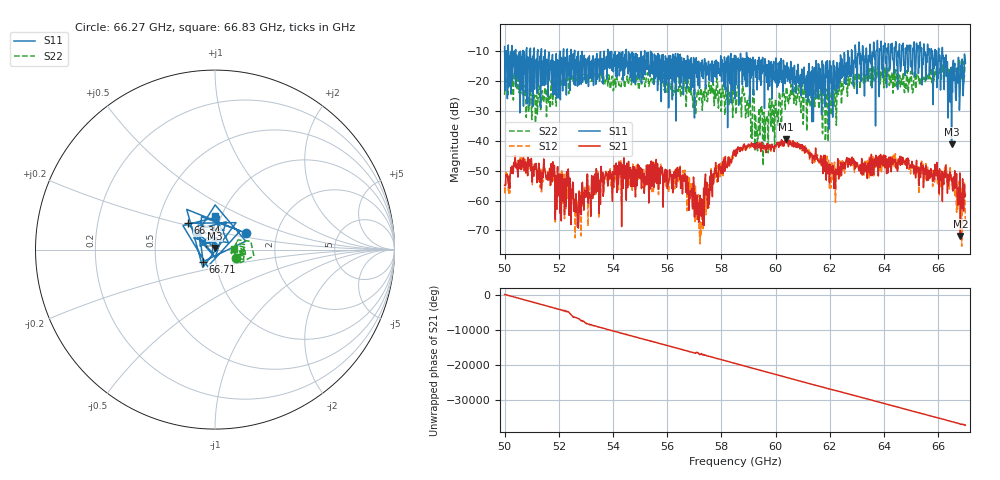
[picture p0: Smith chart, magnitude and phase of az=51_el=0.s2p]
!Created with skrf (http://scikit-rf.org).
# GHz S RI R 50.0
!freq ReS11 ImS11 ReS21 ImS21 ReS12 ImS12 ReS22 ImS22
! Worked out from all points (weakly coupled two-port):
!   1001 points, 50 GHz to 67 GHz, reference 50 ohm
!   highest |S21| = -39.54 dB at 60.39 GHz (marker M1); lowest = -71.8 dB at 66.81 GHz (marker M2)
!   lowest |S11| = -41.1 dB at 66.49 GHz (marker M3), VSWR 1.02, Z = 49.8 + j0.863 ohm
!   |S11| at or under -10 dB: 52.58 GHz to 53.67 GHz (1.088 GHz wide, 2.05 % of centre); 55.17 GHz to 62.66 GHz (7.496 GHz wide, 12.7 % of centre); 66.16 GHz to end of sweep (the widest 3 of 59)
!   |S22| runs from -48.3 to -13.2 dB; largest |S21 - S12| = 0.0025
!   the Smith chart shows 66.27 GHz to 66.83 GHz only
!   S11 on the Smith chart (normalised r, x): 66.27 GHz: 1.39, +0.26; 66.34 GHz: 0.71, +0.22; 66.71 GHz: 0.87, -0.12; 66.83 GHz: 0.94, +0.36
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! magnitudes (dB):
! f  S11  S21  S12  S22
! 50 GHz  -8.5  -54.9  -55.6  -24.7
! 50.63 GHz  -12.0  -46.6  -45.5  -20.5
! 51.14 GHz  -13.7  -48.6  -48.5  -34.0
! 52.84 GHz  -12.5  -57.7  -58.7  -19.6
! 53.81 GHz  -9.4  -55.1  -55.0  -21.7
! 55.68 GHz  -13.6  -56.3  -58.0  -21.1
! 56.63 GHz  -16.2  -53.4  -53.0  -20.2
! 57.24 GHz  -13.9  -61.0  -71.8  -22.4
! 57.63 GHz  -20.1  -52.0  -52.2  -22.0
! 58.5 GHz  -26.0  -43.3  -43.4  -23.9
! 59.61 GHz  -12.5  -42.0  -43.0  -39.9
! 60.39 GHz  -17.2  -39.5  -40.2  -22.5
! 61.34 GHz  -33.6  -44.8  -44.6  -25.9
! 62.12 GHz  -13.5  -48.2  -49.2  -22.1
! 64.18 GHz  -12.1  -45.5  -46.6  -17.4
! 66.27 GHz  -14.2  -48.2  -50.4  -18.1
! 66.34 GHz  -13.5  -57.5  -51.0  -17.2
! 66.49 GHz  -41.1  -53.5  -53.4  -15.3
! 66.71 GHz  -20.6  -61.2  -62.9  -15.6
! 66.81 GHz  -21.5  -71.8  -56.3  -17.2
! 66.83 GHz  -14.7  -59.1  -61.6  -19.4
! 67 GHz  -14.0  -58.1  -68.4  -14.3
